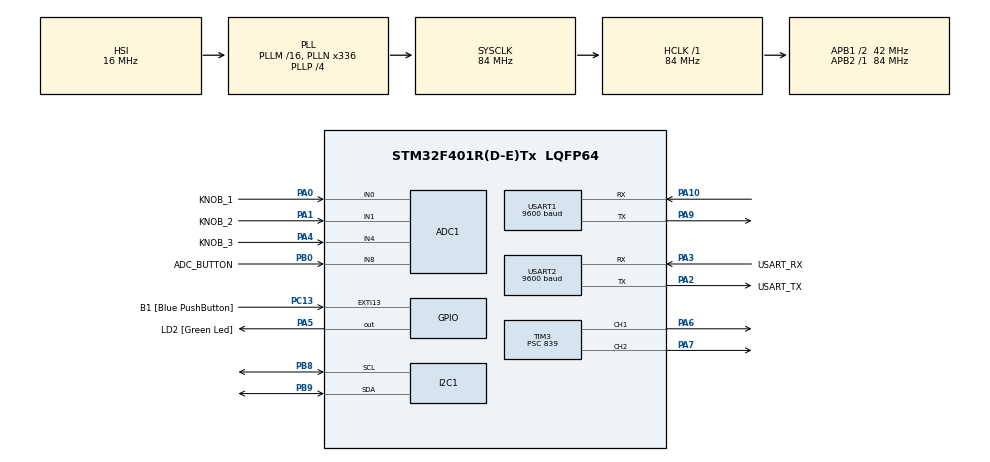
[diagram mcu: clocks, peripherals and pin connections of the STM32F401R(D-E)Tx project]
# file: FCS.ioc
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ADC1.Channel-0\#ChannelRegularConversion=ADC_CHANNEL_0
ADC1.Channel-1\#ChannelRegularConversion=ADC_CHANNEL_1
ADC1.Channel-2\#ChannelRegularConversion=ADC_CHANNEL_4
ADC1.Channel-3\#ChannelRegularConversion=ADC_CHANNEL_8
ADC1.ContinuousConvMode=ENABLE
ADC1.DMAContinuousRequests=ENABLE
ADC1.NbrOfConversion=4
ADC1.NbrOfConversionFlag=1
ADC1.Rank-0\#ChannelRegularConversion=1
ADC1.Rank-1\#ChannelRegularConversion=2
ADC1.Rank-2\#ChannelRegularConversion=3
ADC1.Rank-3\#ChannelRegularConversion=4
ADC1.SamplingTime-0\#ChannelRegularConversion=ADC_SAMPLETIME_84CYCLES
ADC1.SamplingTime-1\#ChannelRegularConversion=ADC_SAMPLETIME_84CYCLES
ADC1.SamplingTime-2\#ChannelRegularConversion=ADC_SAMPLETIME_84CYCLES
ADC1.SamplingTime-3\#ChannelRegularConversion=ADC_SAMPLETIME_84CYCLES
ADC1.ScanConvMode=ENABLE
ADC1.master=1
Dma.ADC1.0.Direction=DMA_PERIPH_TO_MEMORY
Dma.ADC1.0.FIFOMode=DMA_FIFOMODE_DISABLE
Dma.ADC1.0.Instance=DMA2_Stream0
Dma.ADC1.0.MemDataAlignment=DMA_MDATAALIGN_HALFWORD
Dma.ADC1.0.MemInc=DMA_MINC_ENABLE
Dma.ADC1.0.Mode=DMA_CIRCULAR
Dma.ADC1.0.PeriphDataAlignment=DMA_PDATAALIGN_HALFWORD
Dma.ADC1.0.PeriphInc=DMA_PINC_DISABLE
Dma.ADC1.0.Priority=DMA_PRIORITY_LOW
Dma.Request0=ADC1
FREERTOS.BinarySemaphores01=semUartRx,Dynamic,NULL,Depleted
FREERTOS.Mutexes01=mtxI2C,Dynamic,NULL,Available;mtxFCS,Dynamic,NULL,Available
FREERTOS.Tasks01=Task_UI,24,512,StartUITask,Default,NULL,Dynamic,NULL,NULL;Task_Comm,40,512,StartCommTask,Default,NULL,Dynamic,NULL,NULL;Task_Servo,32,256,StartServoTask,Default,NULL,Dynamic,NULL,NULL;Task_Sensor,16,256,StartSensorTask,Default,NULL,Dynamic,NULL,NULL
FREERTOS.configCHECK_FOR_STACK_OVERFLOW=2
FREERTOS.configENABLE_FPU=1
FREERTOS.configGENERATE_RUN_TIME_STATS=1
FREERTOS.configTOTAL_HEAP_SIZE=20480
FREERTOS.configUSE_NEWLIB_REENTRANT=1
IWDG.Prescaler=IWDG_PRESCALER_64
IWDG.Reload=1000
Mcu.Family=STM32F4
Mcu.Name=STM32F401R(D-E)Tx
Mcu.Package=LQFP64
NVIC.DMA2_Stream0_IRQn=true\:5\:0\:false\:false\:true\:true\:false\:true\:true
NVIC.PriorityGroup=NVIC_PRIORITYGROUP_4
NVIC.TIM1_UP_TIM10_IRQn=true\:15\:0\:false\:false\:true\:false\:false\:true\:true
NVIC.TimeBase=TIM1_UP_TIM10_IRQn
NVIC.TimeBaseIP=TIM10
NVIC.USART1_IRQn=true\:5\:0\:false\:false\:true\:true\:true\:true\:true
NVIC.USART2_IRQn=true\:5\:0\:false\:false\:true\:true\:true\:true\:true
PA0-WKUP.GPIO_Label=KNOB_1
PA0-WKUP.Signal=ADCx_IN0
PA1.GPIO_Label=KNOB_2
PA1.Signal=ADCx_IN1
PA10.Mode=Asynchronous
PA10.Signal=USART1_RX
PA13.GPIO_Label=TMS
PA13.Mode=Serial_Wire
PA13.Signal=SYS_JTMS-SWDIO
PA14.GPIO_Label=TCK
PA14.Mode=Serial_Wire
PA14.Signal=SYS_JTCK-SWCLK
PA2.GPIO_Label=USART_TX
PA2.GPIO_Mode=GPIO_MODE_AF_PP
PA2.GPIO_PuPd=GPIO_NOPULL
PA2.GPIO_Speed=GPIO_SPEED_FREQ_LOW
PA2.Mode=Asynchronous
PA2.Signal=USART2_TX
PA3.GPIO_Label=USART_RX
PA3.GPIO_Mode=GPIO_MODE_AF_PP
PA3.GPIO_PuPd=GPIO_NOPULL
PA3.GPIO_Speed=GPIO_SPEED_FREQ_LOW
PA3.Mode=Asynchronous
PA3.Signal=USART2_RX
PA4.GPIO_Label=KNOB_3
PA4.Signal=ADCx_IN4
PA5.GPIO_Label=LD2 [Green Led]
PA5.GPIO_Mode=GPIO_MODE_OUTPUT_PP
PA5.GPIO_PuPd=GPIO_NOPULL
PA5.GPIO_Speed=GPIO_SPEED_FREQ_LOW
PA5.Signal=GPIO_Output
PA6.Signal=S_TIM3_CH1
PA7.Signal=S_TIM3_CH2
PA9.Mode=Asynchronous
PA9.Signal=USART1_TX
PB0.GPIO_Label=ADC_BUTTON
PB0.Signal=ADCx_IN8
PB3.GPIO_Label=SWO
PB3.Signal=SYS_JTDO-SWO
PB8.Mode=I2C
PB8.Signal=I2C1_SCL
PB9.Mode=I2C
PB9.Signal=I2C1_SDA
PC13-ANTI_TAMP.GPIO_Label=B1 [Blue PushButton]
PC13-ANTI_TAMP.GPIO_ModeDefaultEXTI=GPIO_MODE_IT_FALLING
PC13-ANTI_TAMP.GPIO_PuPd=GPIO_NOPULL
PC13-ANTI_TAMP.Signal=GPXTI13
PC14-OSC32_IN.Mode=LSE-External-Oscillator
PC14-OSC32_IN.Signal=RCC_OSC32_IN
PC15-OSC32_OUT.Mode=LSE-External-Oscillator
PC15-OSC32_OUT.Signal=RCC_OSC32_OUT
PH0\ -\ OSC_IN.Mode=HSE-External-Oscillator
PH0\ -\ OSC_IN.Signal=RCC_OSC_IN
PH1\ -\ OSC_OUT.Mode=HSE-External-Oscillator
PH1\ -\ OSC_OUT.Signal=RCC_OSC_OUT
ProjectManager.HeapSize=0x200
ProjectManager.StackSize=0x400
ProjectManager.TargetToolchain=STM32CubeIDE
RCC.48MHZClocksFreq_Value=48000000
RCC.AHBFreq_Value=84000000
RCC.APB1CLKDivider=RCC_HCLK_DIV2
RCC.APB1Freq_Value=42000000
RCC.APB1TimFreq_Value=84000000
RCC.APB2Freq_Value=84000000
RCC.APB2TimFreq_Value=84000000
RCC.CortexFreq_Value=84000000
RCC.HCLKFreq_Value=84000000
RCC.HSE_VALUE=8000000
RCC.HSI_VALUE=16000000
RCC.PLLN=336
RCC.PLLP=RCC_PLLP_DIV4
RCC.PLLQ=7
RCC.SYSCLKFreq_VALUE=84000000
RCC.SYSCLKSource=RCC_SYSCLKSOURCE_PLLCLK
RCC.VCOOutputFreq_Value=336000000
SH.ADCx_IN0.0=ADC1_IN0,IN0
SH.ADCx_IN1.0=ADC1_IN1,IN1
SH.ADCx_IN4.0=ADC1_IN4,IN4
SH.ADCx_IN8.0=ADC1_IN8,IN8
SH.S_TIM3_CH1.0=TIM3_CH1,PWM Generation1 CH1
SH.S_TIM3_CH2.0=TIM3_CH2,PWM Generation2 CH2
TIM3.Channel-PWM\ Generation1\ CH1=TIM_CHANNEL_1
TIM3.Channel-PWM\ Generation2\ CH2=TIM_CHANNEL_2
TIM3.Period=1999
TIM3.Prescaler=839
TIM3.Pulse-PWM\ Generation1\ CH1=145
TIM3.Pulse-PWM\ Generation2\ CH2=145
USART1.BaudRate=9600
USART1.VirtualMode=VM_ASYNC
USART2.BaudRate=9600
USART2.VirtualMode=VM_ASYNC
VP_CRC_VS_CRC.Mode=CRC_Activate
VP_FREERTOS_VS_CMSIS_V2.Mode=CMSIS_V2
VP_IWDG_VS_IWDG.Mode=IWDG_Activate
VP_SYS_VS_tim10.Mode=TIM10
board=NUCLEO-F401RE

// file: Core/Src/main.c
/* USER CODE BEGIN Header */
/**
  * @file           : main.c
  * @brief          : Main program body
  */
/* USER CODE END Header */
#include "main.h"
#include "cmsis_os.h"
#include "adc.h"
#include "crc.h"
#include "dma.h"
#include "i2c.h"
#include "iwdg.h"
#include "tim.h"
#include "usart.h"
#include "gpio.h"

/* USER CODE BEGIN Includes */
#include <stdio.h>
#include <string.h>
#include "ssd1306.h"
#include "ssd1306_fonts.h"
#include "bmp280.h"
#include "ui.h"
#include "input.h"
#include "flash_ops.h"
#include "fcs_core.h"
#include "servo.h"
/* USER CODE END Includes */

/* USER CODE BEGIN PV */
FCS_System_t fcs; // 시스템 전역 인스턴스
volatile uint16_t adc_dma_buf[4]; // ADC DMA 순환 버퍼 (HALFWORD)

extern UART_HandleTypeDef huart2;
extern DMA_HandleTypeDef hdma_adc1;
extern osSemaphoreId_t semUartRxHandle;
/* USER CODE END PV */

void SystemClock_Config(void);
void MX_FREERTOS_Init(void);

/* USER CODE BEGIN 0 */

/**
 * @brief  UART 수신 완료 콜백 — FCS 코어 링 버퍼로 전달.
 */
void HAL_UART_RxCpltCallback(UART_HandleTypeDef *huart) {
  if (huart->Instance == USART1) {
    FCS_UART_RxCallback(huart);
    osSemaphoreRelease(semUartRxHandle);
  }
#ifdef DEBUG
  /* 디버그 전용: USART2 RX -> 링버퍼 (서보 트림 l/r 키 지원) */
  else if (huart->Instance == USART2) {
    FCS_UART_RxCallback(huart);
  }
#endif
}

void HAL_UART_TxCpltCallback(UART_HandleTypeDef *huart) {
  FCS_UART_TxCpltCallback(huart);
}

void HAL_UART_ErrorCallback(UART_HandleTypeDef *huart) {
  FCS_UART_ErrorCallback(huart);
}
/* USER CODE END 0 */

int main(void)
{

  /* MCU Configuration--------------------------------------------------------*/

  /* Reset of all peripherals, Initializes the Flash interface and the Systick. */
  HAL_Init();

  /* Configure the system clock */
  SystemClock_Config();

  /* Initialize all configured peripherals */
  MX_GPIO_Init();
  MX_DMA_Init();
  MX_USART2_UART_Init();
  MX_ADC1_Init();
  MX_I2C1_Init();
  MX_USART1_UART_Init();
  MX_IWDG_Init();
  MX_TIM3_Init();
  MX_CRC_Init();
  /* USER CODE BEGIN 2 */

  // OLED 초기화
  HAL_Delay(100);
  ssd1306_Init();
  ssd1306_Fill(0);
  HAL_IWDG_Refresh(&hiwdg);

  // I2C 버스 스캔 — 응답하는 장치 주소 출력
  DBG_PRINT("\r\n[I2C] Bus scan...\r\n");
  for (uint8_t addr = 0x03; addr < 0x78; addr++) {
    if (HAL_I2C_IsDeviceReady(&hi2c1, (uint16_t)(addr << 1), 1, 10) == HAL_OK) {
      DBG_PRINT("  Found: 0x%02X", addr);
      if (addr == 0x3C || addr == 0x3D) DBG_PRINT(" (OLED)");
      if (addr == 0x76 || addr == 0x77) DBG_PRINT(" (BMP280)");
      DBG_PRINT("\r\n");
    }
  }
  HAL_IWDG_Refresh(&hiwdg);

  // BMP280 초기화
  HAL_Delay(100);
  BMP280_Init();
  HAL_IWDG_Refresh(&hiwdg);

  // 시스템 및 UI 초기화
  FCS_Init_System(&fcs);
  UI_Init(&fcs); // UI 상태 초기화

  // 저장된 포 위치 로드
  Flash_Load_BatteryPos(&fcs);

  // ADC DMA 연속 변환 시작 (백그라운드 동작)
  HAL_ADC_Start_DMA(&hadc1, (uint32_t*)adc_dma_buf, 4);
  // 콜백 미사용 -> DMA TC/HT 인터럽트 비활성화
  __HAL_DMA_DISABLE_IT(&hdma_adc1, DMA_IT_TC | DMA_IT_HT);

  // 서보 PWM 시작 + 중립 위치
  Servo_Init(&htim3);
  fcs.servo.enabled = 1U;
  DBG_PRINT("\r\n[SERVO] Init OK (TIM3 CH1/CH2)\r\n");

  // UART 수신 시작 (인터럽트 체인 개시)
  FCS_Serial_Start(&huart1);
#ifdef DEBUG
  FCS_Serial_Start(&huart2); // 디버그 전용: 서보 트림 키(l/r) 수신
#endif

  // DWT 사이클 카운터 초기화 (성능 프로파일링)
  CoreDebug->DEMCR |= CoreDebug_DEMCR_TRCENA_Msk;
  DWT->CYCCNT = 0;
  DWT->CTRL |= DWT_CTRL_CYCCNTENA_Msk;

  // .isr_vector + .text 무결성 검증 (HW CRC-32)
  {
    extern uint32_t _etext; /* 링커 심볼: .text 섹션 끝 */
    uint32_t fw_end  = (uint32_t)&_etext;
    uint32_t fw_size = fw_end - FLASH_BASE; /* FLASH_BASE = 0x08000000 */
    volatile uint32_t fw_crc = HW_CRC32((const uint8_t*)FLASH_BASE, fw_size);
    (void)fw_crc; /* Release 빌드 unused 경고 억제 (volatile로 계산은 보장) */
    DBG_PRINT("\r\n[FW] CRC=0x%08lX (%lu bytes)\r\n",
              (unsigned long)fw_crc, (unsigned long)fw_size);
  }

  DBG_PRINT("\r\n[FCS] System Ready. Waiting for Commands...\r\n");

  /* USER CODE END 2 */

  /* Init scheduler */
  osKernelInitialize();  /* Call init function for freertos objects (in cmsis_os2.c) */
  MX_FREERTOS_Init();

  /* Start scheduler */
  osKernelStart();

  /* We should never get here as control is now taken by the scheduler */

  /* Infinite loop */
  while (1)
  {

    /* USER CODE BEGIN 3 */
    // osKernelStart() 이후 도달하지 않음
  }
  /* USER CODE END 3 */
}

void SystemClock_Config(void)
{
  RCC_OscInitTypeDef RCC_OscInitStruct = {0};
  RCC_ClkInitTypeDef RCC_ClkInitStruct = {0};

  /** Configure the main internal regulator output voltage
  */
  __HAL_RCC_PWR_CLK_ENABLE();
  __HAL_PWR_VOLTAGESCALING_CONFIG(PWR_REGULATOR_VOLTAGE_SCALE2);

  /** Initializes the RCC Oscillators according to the specified parameters
  * in the RCC_OscInitTypeDef structure.
  */
  RCC_OscInitStruct.OscillatorType = RCC_OSCILLATORTYPE_HSI|RCC_OSCILLATORTYPE_LSI;
  RCC_OscInitStruct.HSIState = RCC_HSI_ON;
  RCC_OscInitStruct.HSICalibrationValue = RCC_HSICALIBRATION_DEFAULT;
  RCC_OscInitStruct.LSIState = RCC_LSI_ON;
  RCC_OscInitStruct.PLL.PLLState = RCC_PLL_ON;
  RCC_OscInitStruct.PLL.PLLSource = RCC_PLLSOURCE_HSI;
  RCC_OscInitStruct.PLL.PLLM = 16;
  RCC_OscInitStruct.PLL.PLLN = 336;
  RCC_OscInitStruct.PLL.PLLP = RCC_PLLP_DIV4;
  RCC_OscInitStruct.PLL.PLLQ = 7;
  if (HAL_RCC_OscConfig(&RCC_OscInitStruct) != HAL_OK)
  {
    Error_Handler();
  }

  /** Initializes the CPU, AHB and APB buses clocks
  */
  RCC_ClkInitStruct.ClockType = RCC_CLOCKTYPE_HCLK|RCC_CLOCKTYPE_SYSCLK
                              |RCC_CLOCKTYPE_PCLK1|RCC_CLOCKTYPE_PCLK2;
  RCC_ClkInitStruct.SYSCLKSource = RCC_SYSCLKSOURCE_PLLCLK;
  RCC_ClkInitStruct.AHBCLKDivider = RCC_SYSCLK_DIV1;
  RCC_ClkInitStruct.APB1CLKDivider = RCC_HCLK_DIV2;
  RCC_ClkInitStruct.APB2CLKDivider = RCC_HCLK_DIV1;

  if (HAL_RCC_ClockConfig(&RCC_ClkInitStruct, FLASH_LATENCY_2) != HAL_OK)
  {
    Error_Handler();
  }
}

/* USER CODE BEGIN 4 */
/**
 * @brief  printf 출력 USART2 (디버그 시리얼) 리다이렉트.
 */
// printf -> USART2 리다이렉트
int _write(int file, char *ptr, int len) {
    HAL_UART_Transmit(&huart2, (uint8_t*)ptr, len, 1000);
    return len;
}
/* USER CODE END 4 */

void HAL_TIM_PeriodElapsedCallback(TIM_HandleTypeDef *htim)
{
  if (htim->Instance == TIM10)
  {
    HAL_IncTick();
  }
}

void Error_Handler(void)
{
  __disable_irq();
  while (1)
  {
  }
}

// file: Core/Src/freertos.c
/* USER CODE BEGIN Header */
/**
  ******************************************************************************
  * File Name          : freertos.c
  * Description        : Code for freertos applications
  ******************************************************************************
  * @attention
  *
  * Copyright (c) 2026 STMicroelectronics.
  * All rights reserved.
  *
  * This software is licensed under terms that can be found in the LICENSE file
  * in the root directory of this software component.
  * If no LICENSE file comes with this software, it is provided AS-IS.
  *
  ******************************************************************************
  */
/* USER CODE END Header */

#include "FreeRTOS.h"
#include "task.h"
#include "main.h"
#include "cmsis_os.h"

/* USER CODE BEGIN Includes */
#include "fcs_core.h"
#include "fcs_common.h"
#include "ui.h"
#include "servo.h"
#include "iwdg.h"
#include "i2c.h"
/* USER CODE END Includes */

/* USER CODE BEGIN PD */
#define HEARTBEAT_LED_MS   500   /* LED 토글 주기 (~1Hz) */
#define SENSOR_FAIL_MAX    5     /* BMP280 연속 실패 허용 횟수 */
#define TASK_UI_PERIOD_MS     20
#define TASK_SERVO_PERIOD_MS  20
#define TASK_SENSOR_PERIOD_MS 1000
/* USER CODE END PD */

/* USER CODE BEGIN Variables */
extern FCS_System_t fcs;
extern volatile uint16_t adc_dma_buf[4];
extern UART_HandleTypeDef huart1;
extern IWDG_HandleTypeDef hiwdg;

// ST-LINK Live Expression 계측용 (Release 빌드 유지, 최적화 방지)
volatile uint32_t prof_stack_ui     = 0;
volatile uint32_t prof_stack_comm   = 0;
volatile uint32_t prof_stack_servo  = 0;
volatile uint32_t prof_stack_sensor = 0;
/* USER CODE END Variables */
/* Definitions for Task_UI */
osThreadId_t Task_UIHandle;
const osThreadAttr_t Task_UI_attributes = {
  .name = "Task_UI",
  .stack_size = 512 * 4,
  .priority = (osPriority_t) osPriorityNormal,
};
/* Definitions for Task_Comm */
osThreadId_t Task_CommHandle;
const osThreadAttr_t Task_Comm_attributes = {
  .name = "Task_Comm",
  .stack_size = 512 * 4,
  .priority = (osPriority_t) osPriorityHigh,
};
/* Definitions for Task_Servo */
osThreadId_t Task_ServoHandle;
const osThreadAttr_t Task_Servo_attributes = {
  .name = "Task_Servo",
  .stack_size = 256 * 4,
  .priority = (osPriority_t) osPriorityAboveNormal,
};
/* Definitions for Task_Sensor */
osThreadId_t Task_SensorHandle;
const osThreadAttr_t Task_Sensor_attributes = {
  .name = "Task_Sensor",
  .stack_size = 256 * 4,
  .priority = (osPriority_t) osPriorityBelowNormal,
};
/* Definitions for mtxI2C */
osMutexId_t mtxI2CHandle;
const osMutexAttr_t mtxI2C_attributes = {
  .name = "mtxI2C"
};
/* Definitions for mtxFCS */
osMutexId_t mtxFCSHandle;
const osMutexAttr_t mtxFCS_attributes = {
  .name = "mtxFCS"
};
/* Definitions for semUartRx */
osSemaphoreId_t semUartRxHandle;
const osSemaphoreAttr_t semUartRx_attributes = {
  .name = "semUartRx"
};

/* USER CODE BEGIN FunctionPrototypes */
/**
 * @brief  I2C1 버스 복구 — SCL 9클럭 토글 후 페리페럴 재초기화.
 * @note   mtxI2C 보호 구간 내에서만 호출할 것.
 */
static void I2C1_BusRecovery(void)
{
  HAL_I2C_DeInit(&hi2c1);

  // SCL(PB8) GPIO 출력으로 전환, 9클럭 토글 (SDA 해제)
  GPIO_InitTypeDef gpio = {0};
  gpio.Pin   = GPIO_PIN_8;
  gpio.Mode  = GPIO_MODE_OUTPUT_OD;
  gpio.Pull  = GPIO_PULLUP;
  gpio.Speed = GPIO_SPEED_FREQ_LOW;
  HAL_GPIO_Init(GPIOB, &gpio);

  for (uint8_t i = 0; i < 9; i++) {
    HAL_GPIO_WritePin(GPIOB, GPIO_PIN_8, GPIO_PIN_RESET);
    osDelay(1);
    HAL_GPIO_WritePin(GPIOB, GPIO_PIN_8, GPIO_PIN_SET);
    osDelay(1);
  }

  // I2C 재초기화 (MspInit에서 GPIO AF 복원)
  MX_I2C1_Init();
}
/* USER CODE END FunctionPrototypes */

void StartUITask(void *argument);
void StartCommTask(void *argument);
void StartServoTask(void *argument);
void StartSensorTask(void *argument);

void MX_FREERTOS_Init(void); /* (MISRA C 2004 rule 8.1) */

/* Hook prototypes */
void configureTimerForRunTimeStats(void);
unsigned long getRunTimeCounterValue(void);
void vApplicationStackOverflowHook(xTaskHandle xTask, signed char *pcTaskName);

/* USER CODE BEGIN 1 */
// DWT 사이클 카운터 활용 (main.c에서 초기화됨)
__weak void configureTimerForRunTimeStats(void)
{
  // DWT->CYCCNT는 main.c에서 이미 활성화
}

__weak unsigned long getRunTimeCounterValue(void)
{
  return (unsigned long)DWT->CYCCNT;
}
/* USER CODE END 1 */

/* USER CODE BEGIN 4 */
// 스택 오버플로 감지: LED 빠른 점멸 + 정지
void vApplicationStackOverflowHook(xTaskHandle xTask, signed char *pcTaskName)
{
  (void)xTask;
  (void)pcTaskName;
  __disable_irq();
  for (;;) {
    HAL_GPIO_TogglePin(LD2_GPIO_Port, LD2_Pin);
    for (volatile uint32_t i = 0; i < 200000; i++) {}
  }
}
/* USER CODE END 4 */

void MX_FREERTOS_Init(void) {
  /* Create the mutex(es) */
  /* creation of mtxI2C */
  mtxI2CHandle = osMutexNew(&mtxI2C_attributes);

  /* creation of mtxFCS */
  mtxFCSHandle = osMutexNew(&mtxFCS_attributes);

  /* Create the semaphores(s) */
  /* creation of semUartRx */
  semUartRxHandle = osSemaphoreNew(1, 0, &semUartRx_attributes);

  /* Create the thread(s) */
  /* creation of Task_UI */
  Task_UIHandle = osThreadNew(StartUITask, NULL, &Task_UI_attributes);

  /* creation of Task_Comm */
  Task_CommHandle = osThreadNew(StartCommTask, NULL, &Task_Comm_attributes);

  /* creation of Task_Servo */
  Task_ServoHandle = osThreadNew(StartServoTask, NULL, &Task_Servo_attributes);

  /* creation of Task_Sensor */
  Task_SensorHandle = osThreadNew(StartSensorTask, NULL, &Task_Sensor_attributes);

}

/* USER CODE BEGIN Header_StartUITask */
/**
  * @brief  Task_UI 메인 루프.
  * @param  argument: 미사용
  * @retval None
  */
/* USER CODE END Header_StartUITask */
void StartUITask(void *argument)
{
  /* USER CODE BEGIN StartUITask */
  for(;;)
  {
    // 입력 + UI 로직 (mtxFCS 보호)
    osMutexAcquire(mtxFCSHandle, osWaitForever);
    FCS_Update_Input(&fcs, adc_dma_buf);
    UI_Update(&fcs);
    static FCS_System_t fcs_snap;
    fcs_snap = fcs; // 표시용 스냅샷 (UI_Draw 중 tearing 방지)
    osMutexRelease(mtxFCSHandle);

    // OLED 그리기 (mtxI2C 보호, 스냅샷 사용)
    osMutexAcquire(mtxI2CHandle, osWaitForever);
    vTaskSuspendAll(); // I2C 폴링 중 선점 방지 (ISR는 정상 동작)
    UI_Draw(&fcs_snap);
    xTaskResumeAll();
    // I2C 버스 에러 감지 -> SCL 토글 복구 + OLED 재초기화
    if ((hi2c1.State != HAL_I2C_STATE_READY) ||
        (hi2c1.ErrorCode != HAL_I2C_ERROR_NONE)) {
      I2C1_BusRecovery();
      ssd1306_Init();
    } else {
      /* I2C 정상 */
    }
    osMutexRelease(mtxI2CHandle);

    static uint32_t led_tick = 0;
    if (HAL_GetTick() - led_tick >= HEARTBEAT_LED_MS) {
      led_tick = HAL_GetTick();
      HAL_GPIO_TogglePin(LD2_GPIO_Port, LD2_Pin);
    } else {
      /* 토글 주기 미도달 */
    }

    // IWDG 리프레시 (모든 태스크 대표)
    HAL_IWDG_Refresh(&hiwdg);

    // 스택 워터마크 갱신 (ST-LINK Live Expression)
    prof_stack_ui = uxTaskGetStackHighWaterMark(NULL);
    osDelay(TASK_UI_PERIOD_MS);
  }
  /* USER CODE END StartUITask */
}

/* USER CODE BEGIN Header_StartCommTask */
/**
* @brief Task_Comm 메인 루프.
* @param argument: 미사용
* @retval None
*/
/* USER CODE END Header_StartCommTask */
void StartCommTask(void *argument)
{
  /* USER CODE BEGIN StartCommTask */
  for(;;)
  {
    // UART 수신 대기 (ISR에서 세마포어 release, 100ms 타임아웃)
    osSemaphoreAcquire(semUartRxHandle, 100);

    // 링버퍼 드레인 + 명령 처리 (mtxFCS 보호)
    osMutexAcquire(mtxFCSHandle, osWaitForever);
    FCS_Task_Serial(&fcs, &huart1);
    osMutexRelease(mtxFCSHandle);

    prof_stack_comm = uxTaskGetStackHighWaterMark(NULL);
  }
  /* USER CODE END StartCommTask */
}

/* USER CODE BEGIN Header_StartServoTask */
/**
* @brief Task_Servo 메인 루프.
* @param argument: 미사용
* @retval None
*/
/* USER CODE END Header_StartServoTask */
void StartServoTask(void *argument)
{
  /* USER CODE BEGIN StartServoTask */
  for(;;)
  {
    // 사격제원 -> 서보 각도 (mtxFCS 보호)
    osMutexAcquire(mtxFCSHandle, osWaitForever);
    if (fcs.servo.enabled) {
      if ((fcs.state == UI_FIRE_DATA) || (fcs.state == UI_ADJUST_FIRE)) {
        if ((fcs.state == UI_FIRE_DATA) && (fcs.fire.error == FCS_FIRE_OK)) {
          Servo_UpdateFromFireData(&fcs);
        } else {
          /* ADJUST_FIRE 또는 에러: 갱신 생략 */
        }
        if (fcs.fire.error == FCS_FIRE_OK) {
          Servo_SetTarget(1U, fcs.servo.az_angle);
          Servo_SetTarget(2U, fcs.servo.el_angle);
          Servo_SlewUpdate(1U);
        } else {
          Servo_SetTarget(1U, (uint8_t)(SERVO_NEUTRAL_DEG + Servo_GetTrim()));
          Servo_SetTarget(2U, 0U);
          Servo_SlewUpdate(0U);
        }
      } else {
        Servo_SetTarget(1U, (uint8_t)(SERVO_NEUTRAL_DEG + Servo_GetTrim()));
        Servo_SetTarget(2U, 0U);
        Servo_SlewUpdate(0U);
      }
    } else {
      /* 서보 비활성화 */
    }
    osMutexRelease(mtxFCSHandle);

    prof_stack_servo = uxTaskGetStackHighWaterMark(NULL);
    osDelay(TASK_SERVO_PERIOD_MS);
  }
  /* USER CODE END StartServoTask */
}

/* USER CODE BEGIN Header_StartSensorTask */
/**
* @brief Task_Sensor 메인 루프.
* @param argument: 미사용
* @retval None
*/
/* USER CODE END Header_StartSensorTask */
void StartSensorTask(void *argument)
{
  /* USER CODE BEGIN StartSensorTask */
  static uint8_t sensor_fail_cnt = 0;
  for(;;)
  {
    if (sensor_fail_cnt < SENSOR_FAIL_MAX) {
      osMutexAcquire(mtxI2CHandle, osWaitForever);
      FCS_Sensor_Read();
      osMutexRelease(mtxI2CHandle);
    } else {
      /* 연속 실패: I2C 접근 중단 */
    }

    // fcs 갱신 (mtxFCS 보호, 중첩 금지)
    osMutexAcquire(mtxFCSHandle, osWaitForever);
    FCS_Sensor_Apply(&fcs);
    if (fcs.diag.sensor_ok) {
      sensor_fail_cnt = 0;
    } else {
      if (sensor_fail_cnt < SENSOR_FAIL_MAX) { sensor_fail_cnt++; }
      else { /* 최대 카운트 도달 */ }
    }
    osMutexRelease(mtxFCSHandle);

    prof_stack_sensor = uxTaskGetStackHighWaterMark(NULL);
    osDelay(TASK_SENSOR_PERIOD_MS);
  }
  /* USER CODE END StartSensorTask */
}
